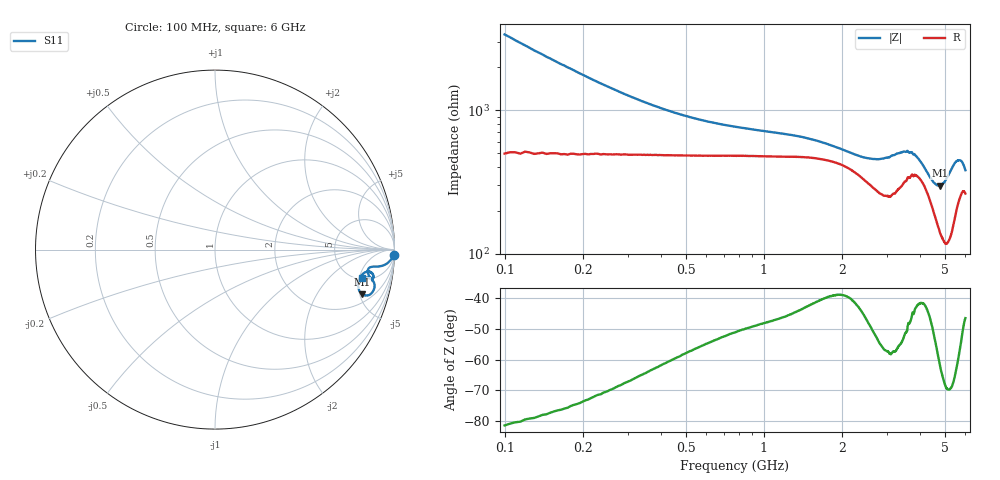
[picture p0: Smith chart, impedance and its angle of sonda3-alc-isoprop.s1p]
! COPPER MOUNTAIN TECHNOLOGIES, R60, 23103002, 24.3.3/3.0
! Date: 24/6/2026 15:42:33
! Data: Format [Calibration Info]
! Frequency		S11: Mag/Ang F1
# HZ S MA R 50
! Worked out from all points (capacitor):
!   1181 points, 100 MHz to 6 GHz, reference 50 ohm
!   read as one part to ground: C = 471 fF near 125 MHz
!   lowest |Z| = 298 ohm at 4.775 GHz (marker M1)
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1e8  0.9956 -1.7
2.55e8  0.9764 -3.7
3.95e8  0.9563 -4.9
5.95e8  0.9342 -5.6
8.4e8  0.9182 -5.9
1.575e9  0.8862 -6.1
1.975e9  0.866 -6.7
2.315e9  0.8595 -8.1
2.78e9  0.8805 -10.2
3.05e9  0.8944 -10.3
3.24e9  0.8967 -9.7
3.435e9  0.8914 -9.0
3.605e9  0.88 -8.3
3.79e9  0.8673 -8.3
3.955e9  0.851 -8.4
4.15e9  0.8323 -9.5
4.37e9  0.8191 -12.1
4.525e9  0.8231 -14.4
4.65e9  0.8348 -15.9
4.775e9  0.8544 -16.9
4.895e9  0.8755 -16.9
5.01e9  0.8933 -16.5
5.15e9  0.9078 -15.3
5.265e9  0.9122 -14.1
5.445e9  0.9096 -12.3
5.645e9  0.893 -11.0
5.84e9  0.8665 -10.4
6e9  0.8361 -10.9
